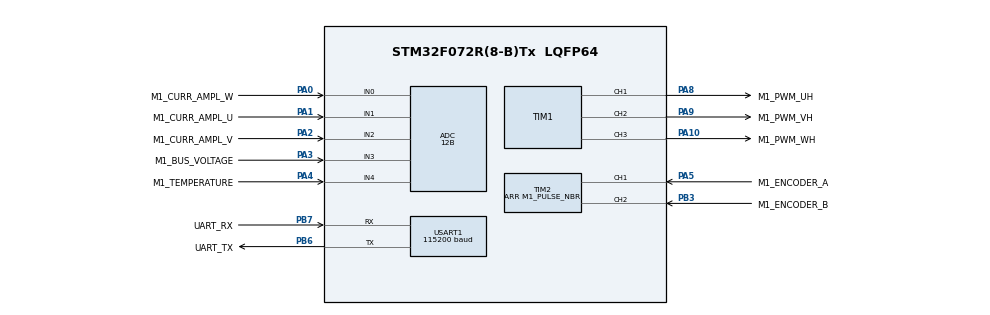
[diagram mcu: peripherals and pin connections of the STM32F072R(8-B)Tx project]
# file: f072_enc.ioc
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ADC.ClockPrescaler=ADC_CLOCK_ASYNC_DIV1
ADC.ContinuousConvMode=DISABLE
ADC.DMAContinuousRequests=ENABLE
ADC.DataAlign=ADC_DATAALIGN_LEFT
ADC.DiscontinuousConvMode=DISABLE
ADC.EOCSelection=ADC_EOC_SINGLE_CONV
ADC.EnableAnalogWatchDog=false
ADC.ExternalTrigConv=ADC_EXTERNALTRIGCONV_T1_TRGO
ADC.ExternalTrigConvEdge=ADC_EXTERNALTRIGCONVEDGE_RISING
ADC.LowPowerAutoPowerOff=DISABLE
ADC.LowPowerAutoWait=DISABLE
ADC.Overrun=ADC_OVR_DATA_PRESERVED
ADC.Resolution=ADC_RESOLUTION_12B
ADC.SamplingTime=ADC_SAMPLETIME_1CYCLE_5
ADC.ScanConvMode=ADC_SCAN_DIRECTION_FORWARD
Dma.ADC.0.Direction=DMA_PERIPH_TO_MEMORY
Dma.ADC.0.Instance=DMA1_Channel1
Dma.ADC.0.MemDataAlignment=DMA_MDATAALIGN_HALFWORD
Dma.ADC.0.MemInc=DMA_MINC_ENABLE
Dma.ADC.0.Mode=DMA_CIRCULAR
Dma.ADC.0.PeriphDataAlignment=DMA_PDATAALIGN_HALFWORD
Dma.ADC.0.PeriphInc=DMA_PINC_DISABLE
Dma.ADC.0.Priority=DMA_PRIORITY_HIGH
Dma.Request0=ADC
Dma.Request1=USART1_RX
Dma.Request2=USART1_TX
Dma.USART1_RX.1.Direction=DMA_PERIPH_TO_MEMORY
Dma.USART1_RX.1.Instance=DMA1_Channel3
Dma.USART1_RX.1.MemDataAlignment=DMA_MDATAALIGN_BYTE
Dma.USART1_RX.1.MemInc=DMA_MINC_ENABLE
Dma.USART1_RX.1.Mode=DMA_NORMAL
Dma.USART1_RX.1.PeriphDataAlignment=DMA_PDATAALIGN_BYTE
Dma.USART1_RX.1.PeriphInc=DMA_PINC_DISABLE
Dma.USART1_RX.1.Priority=DMA_PRIORITY_LOW
Dma.USART1_TX.2.Direction=DMA_MEMORY_TO_PERIPH
Dma.USART1_TX.2.Instance=DMA1_Channel2
Dma.USART1_TX.2.MemDataAlignment=DMA_MDATAALIGN_BYTE
Dma.USART1_TX.2.MemInc=DMA_MINC_ENABLE
Dma.USART1_TX.2.Mode=DMA_NORMAL
Dma.USART1_TX.2.PeriphDataAlignment=DMA_PDATAALIGN_BYTE
Dma.USART1_TX.2.PeriphInc=DMA_PINC_DISABLE
Dma.USART1_TX.2.Priority=DMA_PRIORITY_LOW
ExtraMW=MotorControl
ExtraMW.MotorControl.Config=MotorControl
ExtraMW.MotorControl.Mode=MotorControl
ExtraMW.MotorControl.Root=MCSDK_v5.Y.2/MotorControl
ExtraMW.MotorControl.Template=templates
Mcu.Family=STM32F0
Mcu.Name=STM32F072R(8-B)Tx
Mcu.Package=LQFP64
MotorControl.ADC_1_PERIPH=ADC1
MotorControl.ADC_2_PERIPH=ADC2
MotorControl.ADC_AHBPERIPH=RCC_AHBPeriph_ADC12
MotorControl.ADC_CLOCK_WB_DIV=1
MotorControl.ADC_CLOCK_WB_FREQ=14
MotorControl.ADC_PERIPH=ADC1
MotorControl.ADC_REFERENCE_VOLTAGE=3.30
MotorControl.ALIGNMENT_ANGLE_DEG=90
MotorControl.ALIGNMENT_DURATION=2000
MotorControl.AMPLIFICATION_GAIN=18.31
MotorControl.ANGC={0,0,0,0,0,0,0,0}
MotorControl.BEMF_CONSISTENCY_GAIN=64
MotorControl.BEMF_CONSISTENCY_TOL=64
MotorControl.BKIN1_FILTER=0
MotorControl.BKIN2_FILTER=0
MotorControl.BKIN2_MODE=NONE
MotorControl.BKIN_MODE=NONE
MotorControl.BOARD=CUSTOM
MotorControl.BRKIN2_GPIO_AF=GPIO_AF_2
MotorControl.BRKIN_GPIO_AF=GPIO_AF_2
MotorControl.BUS_VOLTAGE_READING=true
MotorControl.CCMRAM_ENABLED=false
MotorControl.CLOCK_FREQUENCY=CPU_CLK_48_MHZ
MotorControl.CLOCK_SOURCE=EXTERNAL
MotorControl.CONSTANT1_D=96915
MotorControl.CONSTANT1_Q=96915
MotorControl.CONSTANT2_QD=49133
MotorControl.CORD_BEMF_CONSISTENCY_GAIN=64
MotorControl.CORD_BEMF_CONSISTENCY_TOL=64
MotorControl.CORD_F1=16384
MotorControl.CORD_F2=16384
MotorControl.CORD_FIFO_DEPTH_01HZ=64
MotorControl.CORD_FIFO_DEPTH_DPP=64
MotorControl.CORD_GAIN1=-23295
MotorControl.CORD_GAIN2=18856
MotorControl.CORD_MAX_ACCEL_DPPP=107
MotorControl.CORD_MEAS_ERRORS_BEFORE_FAULTS=3
MotorControl.CORD_VARIANCE_THRESHOLD=4
MotorControl.CPU_CLK_48_MHZ=true
MotorControl.CTRBDID=0
MotorControl.CUBE_MX_VER=6.1.0
MotorControl.CURRENT_READING_TOPOLOGY=THREE_SHUNT
MotorControl.CURR_SAMPLING_TIME=1
MotorControl.DAC_EMULATED=false
MotorControl.DAC_FUNCTIONALITY=false
MotorControl.DAC_TIMER_CH1_GPIO_PIN=LL_GPIO_PIN_0
MotorControl.DAC_TIMER_CH1_GPIO_PORT=GPIOA
MotorControl.DAC_TIMER_CH2_GPIO_PIN=LL_GPIO_PIN_0
MotorControl.DAC_TIMER_CH2_GPIO_PORT=GPIOA
MotorControl.DAC_TIMER_SELECTION=TIM3
MotorControl.DC_CURRENT_RS_MEAS=8.00
MotorControl.DEBUG_DAC_CH1=false
MotorControl.DEBUG_DAC_CH2=false
MotorControl.DEFAULT_CONTROL_MODE=STC_SPEED_MODE
MotorControl.DEFAULT_DAC_CHANNEL_1=MC_PROTOCOL_REG_I_A
MotorControl.DEFAULT_DAC_CHANNEL_2=MC_PROTOCOL_REG_I_B
MotorControl.DEFAULT_DAC_MOTOR=0
MotorControl.DEFAULT_FLUX_COMPONENT=0
MotorControl.DEFAULT_TARGET_SPEED_RPM=1000
MotorControl.DEFAULT_TORQUE_COMPONENT=0
MotorControl.DISCONTINUOUS_PWM=false
MotorControl.DISSIPATIVE_BRAKE_POLARITY=DOUT_ACTIVE_HIGH
MotorControl.DRIVES_NUMBER_SELECTION=SINGLEDRIVE
MotorControl.EMERGENCY2_STOP_GPIO_PIN=LL_GPIO_PIN_12
MotorControl.EMERGENCY2_STOP_GPIO_PORT=GPIOB
MotorControl.EMERGENCY_STOP_GPIO_PIN=LL_GPIO_PIN_12
MotorControl.EMERGENCY_STOP_GPIO_PORT=GPIOB
MotorControl.ENABLE_SL_ALGO_FROM_PHASE=3
MotorControl.ENCODER=true
MotorControl.ENCODER_AVAILABLE=true
MotorControl.ENCODER_PPR=1000
MotorControl.ENC_AVERAGING_FIFO_DEPTH=16
MotorControl.ENC_A_GPIO_PIN=LL_GPIO_PIN_5
MotorControl.ENC_A_GPIO_PORT=GPIOA
MotorControl.ENC_B_GPIO_PIN=LL_GPIO_PIN_3
MotorControl.ENC_B_GPIO_PORT=GPIOB
MotorControl.ENC_ICx_FILTER=24
MotorControl.ENC_INVERT_SPEED=false
MotorControl.ENC_MEAS_ERRORS_BEFORE_FAULTS=3
MotorControl.ENC_TIMER_REMAPPING=NO_REMAP_TIM2
MotorControl.ENC_TIMER_SELECTION=ENC_TIM2
MotorControl.ENC_USE_CH3=false
MotorControl.EXT_CLK_8_MHZ=true
MotorControl.EXT_CLOCK_FREQUENCY=EXT_CLK_8_MHZ
MotorControl.F1=16384
MotorControl.F2=16384
MotorControl.FEEDBACK_NET_FILTERING=false
MotorControl.FEED_FORWARD_CURRENT_REG_ENABLING=false
MotorControl.FINAL_I_ALIGNMENT=3636
MotorControl.FLUX_WEAKENING_ENABLING=false
MotorControl.FW_KIDIV=32768
MotorControl.FW_KI_GAIN=5000
MotorControl.FW_KPDIV=32768
MotorControl.FW_KP_GAIN=3000
MotorControl.FW_VOLTAGE_REF=985
MotorControl.GAIN1=-23295
MotorControl.GAIN2=18856
MotorControl.H1_GPIO_PIN=LL_GPIO_PIN_5
MotorControl.H1_GPIO_PORT=GPIOA
MotorControl.H2_GPIO_PIN=LL_GPIO_PIN_3
MotorControl.H2_GPIO_PORT=GPIOB
MotorControl.H3_GPIO_PIN=LL_GPIO_PIN_10
MotorControl.H3_GPIO_PORT=GPIOB
MotorControl.HALL_AVERAGING_FIFO_DEPTH=6
MotorControl.HALL_ICx_FILTER=64
MotorControl.HALL_MEAS_ERRORS_BEFORE_FAULTS=3
MotorControl.HALL_MTPA=false
MotorControl.HALL_PHASE_SHIFT=300
MotorControl.HALL_SENSORS_AVAILABLE=false
MotorControl.HALL_SENSORS_PLACEMENT=DEGREES_120
MotorControl.HALL_TIMER_REMAPPING=NO_REMAP_TIM2
MotorControl.HALL_TIMER_SELECTION=HALL_TIM2
MotorControl.HFI_AMPLITUDE=25
MotorControl.HFI_DC_0_COEFF=0.00146
MotorControl.HFI_DC_1_COEFF=0.002921
MotorControl.HFI_DC_2_COEFF=0.00146
MotorControl.HFI_DC_3_COEFF=1.889033
MotorControl.HFI_DC_4_COEFF=-0.894874
MotorControl.HFI_DEBUG_MODE=false
MotorControl.HFI_FREQUENCY=400
MotorControl.HFI_HIFRAMPLSCAN=25
MotorControl.HFI_HP_ID_0_COEFF=0.901513
MotorControl.HFI_HP_ID_1_COEFF=-1.803026
MotorControl.HFI_HP_ID_2_COEFF=0.901513
MotorControl.HFI_HP_ID_3_COEFF=1.793303
MotorControl.HFI_HP_ID_4_COEFF=-0.81275
MotorControl.HFI_IDH_DELAY=32400
MotorControl.HFI_LOCKFREQ=55
MotorControl.HFI_LP_ID_0_COEFF=0.015476
MotorControl.HFI_LP_ID_1_COEFF=0.030952
MotorControl.HFI_LP_ID_2_COEFF=0.015476
MotorControl.HFI_LP_ID_3_COEFF=1.61855
MotorControl.HFI_LP_ID_4_COEFF=-0.680453
MotorControl.HFI_MAXANGLEDIFF=3640
MotorControl.HFI_MINIMUM_SPEED_RPM=402
MotorControl.HFI_NOTCH_IQD_0_COEFF=0.95059
MotorControl.HFI_NOTCH_IQD_1_COEFF=-1.859635
MotorControl.HFI_NOTCH_IQD_2_COEFF=0.95059
MotorControl.HFI_NOTCH_IQD_3_COEFF=1.859635
MotorControl.HFI_NOTCH_IQD_4_COEFF=-0.901181
MotorControl.HFI_NSDETPOINTSSKIP=10
MotorControl.HFI_NSMAXDETPOINTS=20
MotorControl.HFI_NS_MIN_SAT_DIFF=0
MotorControl.HFI_PID_KIDIV=32768
MotorControl.HFI_PID_KI_DEFAULT=400
MotorControl.HFI_PID_KPDIV=16384
MotorControl.HFI_PID_KP_DEFAULT=800
MotorControl.HFI_PLL_KI_DEFAULT=0.00400
MotorControl.HFI_PLL_KP_DEFAULT=0.00060
MotorControl.HFI_RESTARTTIMESEC=0.1
MotorControl.HFI_RESTART_RPM_TH=(((HFI_STO_RPM_TH)+(STO_HFI_RPM_TH))/2)
MotorControl.HFI_REVERT_DIRECTION=true
MotorControl.HFI_SCANROTATIONSNO=3
MotorControl.HFI_SPD_BUFFER_DEPTH_01HZ=64
MotorControl.HFI_STEPANGLE=3640
MotorControl.HFI_STO_RPM_TH=OBS_MINIMUM_SPEED_RPM
MotorControl.HFI_WAITAFTERNS2=4
MotorControl.HFI_WAITBEFORESN=6
MotorControl.HFI_WAITSYNCH=20
MotorControl.HFI_WAITTRACK=20
MotorControl.HIGH_SIDE_BRAKE_STATE=false
MotorControl.HIGH_SIDE_IDLE_STATE=false
MotorControl.HW_COMPLEMENTED_LOW_SIDE=true
MotorControl.HW_DEAD_TIME_NS=700
MotorControl.HW_OV_CURRENT_PROT_BYPASS=false
MotorControl.ID_DEMAG=-14544
MotorControl.INRUSH_CURRLIMIT_AT_POWER_ON=true
MotorControl.INRUSH_CURRLIMIT_CHANGE_AFTER_MS=1000
MotorControl.INRUSH_CURRLIMIT_ENABLING=false
MotorControl.INRUSH_CURRLIMIT_GPIO_PIN=LL_GPIO_PIN_4
MotorControl.INRUSH_CURRLIMIT_GPIO_PORT=GPIOE
MotorControl.INRUSH_CURR_LIMITER_POLARITY=DOUT_ACTIVE_HIGH
MotorControl.INTERNAL_OVERCURRENTPROTECTION=false
MotorControl.INTERNAL_OVERVOLTAGEPROTECTION=false
MotorControl.IPs=NVIC,RCC,SYS,MotorControl,TIM1,ADC,TIM2,USART1,DMA
MotorControl.IQMAX=14544
MotorControl.LCD_JOYSTICK_FUNCTIONALITY=false
MotorControl.LCD_MODE=LCD_FULL
MotorControl.LDLQ_RATIO=1.000
MotorControl.LOW_SIDE_BRAKE_STATE=false
MotorControl.LOW_SIDE_IDLE_STATE=false
MotorControl.LOW_SIDE_SIGNALS_ENABLING=LS_DISABLED
MotorControl.LS=0.000320
MotorControl.MAX_APPLICATION_SPEED=3000
MotorControl.MAX_MODULATION_99_PER_CENT=true
MotorControl.MAX_MODULATION_INDEX=MAX_MODULATION_99_PER_CENT
MotorControl.MCP_ASYNC_OVER_ASPEP=false
MotorControl.MCP_ASYNC_OVER_UART_A=false
MotorControl.MCP_ASYNC_USED=false
MotorControl.MCU=STM32F072RB
MotorControl.MCU_TYPE=STM32F072x
MotorControl.MC_WORKBENCH_VERSION=5.Y.2.21279
MotorControl.MEAS_ERRORS_BEFORE_FAULTS=3
MotorControl.MIN_APPLICATION_SPEED=0
MotorControl.MOTOR_MAX_SPEED_RPM=3000
MotorControl.MOTOR_TYPE=PMSM
MotorControl.MOTOR_VOLTAGE_CONSTANT=12.0
MotorControl.MTPA_ENABLING=false
MotorControl.NB_CONSECUTIVE_TESTS=2
MotorControl.NOMINAL_BUS_VOLTAGE_V=22
MotorControl.NOMINAL_CURRENT=14544
MotorControl.OBS_MEAS_ERRORS_BEFORE_FAULTS=3
MotorControl.OBS_MINIMUM_SPEED_RPM=580
MotorControl.OCPA_INVERTINGINPUT=COMPX_InvertingInput_VREF
MotorControl.OCPA_INVERTINGINPUT_GPIO_PIN=LL_GPIO_PIN_4
MotorControl.OCPA_INVERTINGINPUT_GPIO_PORT=GPIOA
MotorControl.OCPA_INVERTINGINPUT_MODE=INT_MODE
MotorControl.OCPA_NONINVERTINGINPUT=COMP1_NonInvertingInput_PA1
MotorControl.OCPA_NONINVERTINGINPUT_GPIO_PIN=LL_GPIO_PIN_1
MotorControl.OCPA_NONINVERTINGINPUT_GPIO_PORT=GPIOA
MotorControl.OCPA_OUTPUT=COMP_Output_TIM1BKIN2
MotorControl.OCPA_OUTPUTPOL=COMP_OutputPol_NonInverted
MotorControl.OCPA_OUTPUT_GPIO_AF=GPIO_AF_2
MotorControl.OCPA_OUTPUT_GPIO_PIN=LL_GPIO_PIN_0
MotorControl.OCPA_OUTPUT_GPIO_PORT=GPIOA
MotorControl.OCPA_OUTPUT_MODE=INT_MODE
MotorControl.OCPA_SELECTION=COMP1
MotorControl.OCPB_INVERTINGINPUT=COMPX_InvertingInput_VREF
MotorControl.OCPB_INVERTINGINPUT_GPIO_PIN=LL_GPIO_PIN_4
MotorControl.OCPB_INVERTINGINPUT_GPIO_PORT=GPIOA
MotorControl.OCPB_INVERTINGINPUT_MODE=INT_MODE
MotorControl.OCPB_NONINVERTINGINPUT=COMP2_NonInvertingInput_PA7
MotorControl.OCPB_NONINVERTINGINPUT_GPIO_PIN=LL_GPIO_PIN_7
MotorControl.OCPB_NONINVERTINGINPUT_GPIO_PORT=GPIOA
MotorControl.OCPB_OUTPUT=COMP_Output_TIM1BKIN2
MotorControl.OCPB_OUTPUTPOL=COMP_OutputPol_NonInverted
MotorControl.OCPB_OUTPUT_GPIO_AF=GPIO_AF_2
MotorControl.OCPB_OUTPUT_GPIO_PIN=LL_GPIO_PIN_2
MotorControl.OCPB_OUTPUT_GPIO_PORT=GPIOA
MotorControl.OCPB_OUTPUT_MODE=INT_MODE
MotorControl.OCPB_SELECTION=COMP2
MotorControl.OCPC_INVERTINGINPUT=COMPX_InvertingInput_VREF
MotorControl.OCPC_INVERTINGINPUT_GPIO_PIN=LL_GPIO_PIN_4
MotorControl.OCPC_INVERTINGINPUT_GPIO_PORT=GPIOA
MotorControl.OCPC_INVERTINGINPUT_MODE=INT_MODE
MotorControl.OCPC_NONINVERTINGINPUT=COMP3_NonInvertingInput_PD14
MotorControl.OCPC_NONINVERTINGINPUT_GPIO_PIN=LL_GPIO_PIN_14
MotorControl.OCPC_NONINVERTINGINPUT_GPIO_PORT=GPIOD
MotorControl.OCPC_OUTPUT=COMP_Output_TIM1BKIN2
MotorControl.OCPC_OUTPUTPOL=COMP_OutputPol_NonInverted
MotorControl.OCPC_OUTPUT_GPIO_AF=GPIO_AF_2
MotorControl.OCPC_OUTPUT_GPIO_PIN=LL_GPIO_PIN_8
MotorControl.OCPC_OUTPUT_GPIO_PORT=GPIOC
MotorControl.OCPC_OUTPUT_MODE=INT_MODE
MotorControl.OCPC_SELECTION=COMP3
MotorControl.OCPREF=23830
MotorControl.OCP_COMP_THRESHOLD=0.50
MotorControl.OCP_FILTER=COMP_Mode_HighSpeed
MotorControl.OCP_INVERTINGINPUT=COMPX_InvertingInput_VREF
MotorControl.OCP_INVERTINGINPUT_GPIO_PIN=LL_GPIO_PIN_4
MotorControl.OCP_INVERTINGINPUT_GPIO_PORT=GPIOA
MotorControl.OCP_INVERTINGINPUT_MODE=INT_MODE
MotorControl.OCP_NONINVERTINGINPUT=COMP2_NonInvertingInput_PA7
MotorControl.OCP_NONINVERTINGINPUT_GPIO_PIN=LL_GPIO_PIN_7
MotorControl.OCP_NONINVERTINGINPUT_GPIO_PORT=GPIOA
MotorControl.OCP_OUTPUT=COMP_Output_TIM1BKIN2
MotorControl.OCP_OUTPUTPOL=COMP_OutputPol_NonInverted
MotorControl.OCP_OUTPUT_GPIO_AF=GPIO_AF_2
MotorControl.OCP_OUTPUT_GPIO_PIN=LL_GPIO_PIN_2
MotorControl.OCP_OUTPUT_GPIO_PORT=GPIOA
MotorControl.OCP_OUTPUT_MODE=INT_MODE
MotorControl.OCP_SELECTION=COMP2
MotorControl.OFST={0,0,0,0,0,0,0,0}
MotorControl.ON_OVER_VOLTAGE=TURN_OFF_PWM
MotorControl.OPAMP1_INVERTINGINPUT=OPAMP1_InvertingInput_PGA
MotorControl.OPAMP1_INVERTINGINPUT_GPIO_PIN=LL_GPIO_PIN_3
MotorControl.OPAMP1_INVERTINGINPUT_GPIO_PORT=GPIOA
MotorControl.OPAMP1_INVERTINGINPUT_MODE=INT_MODE
MotorControl.OPAMP1_NONINVERTINGINPUT_PHA=OPAMP1_NonInvertingInput_PA1
MotorControl.OPAMP1_NONINVERTINGINPUT_PHA_GPIO_PIN=LL_GPIO_PIN_1
MotorControl.OPAMP1_NONINVERTINGINPUT_PHA_GPIO_PORT=GPIOA
MotorControl.OPAMP1_NONINVERTINGINPUT_PHB=OPAMP1_NonInvertingInput_PA7
MotorControl.OPAMP1_NONINVERTINGINPUT_PHB_GPIO_PIN=LL_GPIO_PIN_7
MotorControl.OPAMP1_NONINVERTINGINPUT_PHB_GPIO_PORT=GPIOA
MotorControl.OPAMP1_OUT_GPIO_PIN=LL_GPIO_PIN_2
MotorControl.OPAMP1_OUT_GPIO_PORT=GPIOA
MotorControl.OPAMP1_SELECTION=OPAMP1
MotorControl.OPAMP2_INVERTINGINPUT=OPAMP2_InvertingInput_PGA
MotorControl.OPAMP2_INVERTINGINPUT_GPIO_PIN=LL_GPIO_PIN_5
MotorControl.OPAMP2_INVERTINGINPUT_GPIO_PORT=GPIOC
MotorControl.OPAMP2_INVERTINGINPUT_MODE=INT_MODE
MotorControl.OPAMP2_NONINVERTINGINPUT_PHA=OPAMP2_NonInvertingInput_PB14
MotorControl.OPAMP2_NONINVERTINGINPUT_PHA_GPIO_PIN=LL_GPIO_PIN_14
MotorControl.OPAMP2_NONINVERTINGINPUT_PHA_GPIO_PORT=GPIOB
MotorControl.OPAMP2_NONINVERTINGINPUT_PHB=OPAMP2_NonInvertingInput_PA7
MotorControl.OPAMP2_NONINVERTINGINPUT_PHB_GPIO_PIN=LL_GPIO_PIN_7
MotorControl.OPAMP2_NONINVERTINGINPUT_PHB_GPIO_PORT=GPIOA
MotorControl.OPAMP2_NONINVERTINGINPUT_PHC=OPAMP2_NonInvertingInput_PB14
MotorControl.OPAMP2_NONINVERTINGINPUT_PHC_GPIO_PIN=LL_GPIO_PIN_14
MotorControl.OPAMP2_NONINVERTINGINPUT_PHC_GPIO_PORT=GPIOB
MotorControl.OPAMP2_OUT_GPIO_PIN=LL_GPIO_PIN_6
MotorControl.OPAMP2_OUT_GPIO_PORT=GPIOA
MotorControl.OPAMP2_SELECTION=OPAMP2
MotorControl.OPAMP3_INVERTINGINPUT=OPAMP1_InvertingInput_PGA
MotorControl.OPAMP3_INVERTINGINPUT_GPIO_PIN=LL_GPIO_PIN_0
MotorControl.OPAMP3_INVERTINGINPUT_GPIO_PORT=GPIOA
MotorControl.OPAMP3_INVERTINGINPUT_MODE=INT_MODE
MotorControl.OPAMP3_SELECTION=OPAMP1
MotorControl.OPAMP_INVERTINGINPUT=OPAMP1_InvertingInput_PGA
MotorControl.OPAMP_INVERTINGINPUT_GPIO_PIN=LL_GPIO_PIN_3
MotorControl.OPAMP_INVERTINGINPUT_GPIO_PORT=GPIOA
MotorControl.OPAMP_INVERTINGINPUT_MODE=INT_MODE
MotorControl.OPAMP_NONINVERTINGINPUT=OPAMP1_NonInvertingInput_PA7
MotorControl.OPAMP_NONINVERTINGINPUT_GPIO_PIN=LL_GPIO_PIN_7
MotorControl.OPAMP_NONINVERTINGINPUT_GPIO_PORT=GPIOA
MotorControl.OPAMP_OUT_GPIO_PIN=LL_GPIO_PIN_2
MotorControl.OPAMP_OUT_GPIO_PORT=GPIOA
MotorControl.OPAMP_PGACONNECT=OPAMP_PGAConnect_No
MotorControl.OPAMP_PGAGAIN=OPAMP_OPAMP_PGAGain_2
MotorControl.OPAMP_SELECTION=OPAMP1
MotorControl.OPAMP_TYPE_GAIN=INTERNAL
MotorControl.OPEN_LOOP_FOC=false
MotorControl.OPEN_LOOP_K=44
MotorControl.OPEN_LOOP_OFF=4400
MotorControl.OPEN_LOOP_SPEED_RAMP_DURATION_MS=1000
MotorControl.OPEN_LOOP_SPEED_RPM=100
MotorControl.OPEN_LOOP_VF=false
MotorControl.OPEN_LOOP_VOLTAGE_d=6000
MotorControl.OVERCURR_FEEDBACK_POLARITY=EMSTOP_ACTIVE_LOW
MotorControl.OVERCURR_PROTECTION_HW_DISABLING=DOUT_ACTIVE_HIGH
MotorControl.OVERMODULATION=false
MotorControl.OVPREF=23830
MotorControl.OVP_FILTER=COMP_Mode_HighSpeed
MotorControl.OVP_INVERTINGINPUT=COMPX_InvertingInput_VREF
MotorControl.OVP_INVERTINGINPUT_GPIO_PIN=LL_GPIO_PIN_4
MotorControl.OVP_INVERTINGINPUT_GPIO_PORT=GPIOA
MotorControl.OVP_INVERTINGINPUT_MODE=INT_MODE
MotorControl.OVP_NONINVERTINGINPUT=COMP7_NonInvertingInput_PA0
MotorControl.OVP_NONINVERTINGINPUT_GPIO_PIN=LL_GPIO_PIN_0
MotorControl.OVP_NONINVERTINGINPUT_GPIO_PORT=GPIOA
MotorControl.OVP_OUTPUT=COMP_Output_TIM1BKIN
MotorControl.OVP_OUTPUTPOL=COMP_OutputPol_NonInverted
MotorControl.OVP_OUTPUT_GPIO_AF=GPIO_AF_2
MotorControl.OVP_OUTPUT_GPIO_PIN=LL_GPIO_PIN_2
MotorControl.OVP_OUTPUT_GPIO_PORT=GPIOC
MotorControl.OVP_OUTPUT_MODE=INT_MODE
MotorControl.OVP_SELECTION=COMP7
MotorControl.OV_CURR_BYPASS_GPIO_PIN=LL_GPIO_PIN_5
MotorControl.OV_CURR_BYPASS_GPIO_PORT=GPIOE
MotorControl.OV_TEMPERATURE_HYSTERESIS_C=10
MotorControl.OV_TEMPERATURE_PROT_ENABLING=true
MotorControl.OV_TEMPERATURE_THRESHOLD_C=110
MotorControl.OV_VOLTAGE_PROT_ENABLING=false
MotorControl.OV_VOLTAGE_THRESHOLD_V=32
MotorControl.PHASE1_DURATION=0
MotorControl.PHASE1_FINAL_CURRENT=0
MotorControl.PHASE1_FINAL_SPEED_RPM=0
MotorControl.PHASE2_DURATION=700
MotorControl.PHASE2_FINAL_CURRENT=3636
MotorControl.PHASE2_FINAL_SPEED_RPM=0
MotorControl.PHASE3_DURATION=350
MotorControl.PHASE3_FINAL_CURRENT=3636
MotorControl.PHASE3_FINAL_SPEED_RPM=350
MotorControl.PHASE4_DURATION=1150
MotorControl.PHASE4_FINAL_CURRENT=3636
MotorControl.PHASE4_FINAL_SPEED_RPM=1500
MotorControl.PHASE5_DURATION=0
MotorControl.PHASE5_FINAL_CURRENT=3636
MotorControl.PHASE5_FINAL_SPEED_RPM=1500
MotorControl.PHASE_CURRENTS_ADC=ADC1_2
MotorControl.PHASE_CURRENTS_CHANNEL=ADC_CHANNEL_9
MotorControl.PHASE_CURRENTS_GPIO_PIN=LL_GPIO_PIN_0
MotorControl.PHASE_CURRENTS_GPIO_PORT=GPIOA
MotorControl.PHASE_UH_GPIO_AF=GPIO_AF_2
MotorControl.PHASE_UH_GPIO_PIN=LL_GPIO_PIN_8
MotorControl.PHASE_UH_GPIO_PORT=GPIOA
MotorControl.PHASE_UH_POLARITY=H_ACTIVE_HIGH
MotorControl.PHASE_UL_GPIO_AF=GPIO_AF_0
MotorControl.PHASE_UL_GPIO_PIN=LL_GPIO_PIN_13
MotorControl.PHASE_UL_GPIO_PORT=GPIOC
MotorControl.PHASE_UL_POLARITY=L_ACTIVE_HIGH
MotorControl.PHASE_U_CURR_ADC=ADC1
MotorControl.PHASE_U_CURR_CHANNEL=ADC_CHANNEL_1
MotorControl.PHASE_U_GPIO_PIN=LL_GPIO_PIN_1
MotorControl.PHASE_U_GPIO_PORT=GPIOA
MotorControl.PHASE_VH_GPIO_AF=GPIO_AF_2
MotorControl.PHASE_VH_GPIO_PIN=LL_GPIO_PIN_9
MotorControl.PHASE_VH_GPIO_PORT=GPIOA
MotorControl.PHASE_VH_POLARITY=H_ACTIVE_HIGH
MotorControl.PHASE_VL_GPIO_AF=GPIO_AF_0
MotorControl.PHASE_VL_GPIO_PIN=LL_GPIO_PIN_13
MotorControl.PHASE_VL_GPIO_PORT=GPIOC
MotorControl.PHASE_VL_POLARITY=L_ACTIVE_HIGH
MotorControl.PHASE_V_CURR_ADC=ADC1
MotorControl.PHASE_V_CURR_CHANNEL=ADC_CHANNEL_2
MotorControl.PHASE_V_GPIO_PIN=LL_GPIO_PIN_2
MotorControl.PHASE_V_GPIO_PORT=GPIOA
MotorControl.PHASE_WH_GPIO_AF=GPIO_AF_2
MotorControl.PHASE_WH_GPIO_PIN=LL_GPIO_PIN_10
MotorControl.PHASE_WH_GPIO_PORT=GPIOA
MotorControl.PHASE_WH_POLARITY=H_ACTIVE_HIGH
MotorControl.PHASE_WL_GPIO_AF=GPIO_AF_0
MotorControl.PHASE_WL_GPIO_PIN=LL_GPIO_PIN_13
MotorControl.PHASE_WL_GPIO_PORT=GPIOC
MotorControl.PHASE_WL_POLARITY=L_ACTIVE_HIGH
MotorControl.PHASE_W_CURR_ADC=ADC1
MotorControl.PHASE_W_CURR_CHANNEL=ADC_CHANNEL_0
MotorControl.PHASE_W_GPIO_PIN=LL_GPIO_PIN_0
MotorControl.PHASE_W_GPIO_PORT=GPIOA
MotorControl.PID_FLUX_KD_DEFAULT=100
MotorControl.PID_FLUX_KI_DEFAULT=1790
MotorControl.PID_FLUX_KP_DEFAULT=2148
MotorControl.PID_SPEED_KD_DEFAULT=0
MotorControl.PID_SPEED_KI_DEFAULT=35
MotorControl.PID_SPEED_KP_DEFAULT=1500
MotorControl.PID_TORQUE_KD_DEFAULT=100
MotorControl.PID_TORQUE_KI_DEFAULT=1790
MotorControl.PID_TORQUE_KP_DEFAULT=2148
MotorControl.PLL_KI_GAIN=31
MotorControl.PLL_KP_GAIN=532
MotorControl.POLE_PAIR_NUM=4
MotorControl.POSITION_CTRL_ENABLING=false
MotorControl.PWBDID=0
MotorControl.PWM_FREQUENCY=12000
MotorControl.PWM_TIMER_REMAPPING=PWM_NO_REMAP
MotorControl.PWM_TIMER_SELECTION=PWM_TIM1
MotorControl.REGCONVADC=ADC1
MotorControl.REGULATION_EXECUTION_RATE=1
MotorControl.RS=0.40
MotorControl.RSHUNT=0.00500
MotorControl.RTOS=NONE
MotorControl.R_BRAKE_GPIO_PIN=LL_GPIO_PIN_5
MotorControl.R_BRAKE_GPIO_PORT=GPIOE
MotorControl.R_BRAKE_SWITCH_OFF_THRES_V=26
MotorControl.SEGDIV=0
MotorControl.SERIAL_COMMUNICATION=true
MotorControl.SERIAL_COM_CHANNEL1=MC_PROTOCOL_REG_I_A
MotorControl.SERIAL_COM_CHANNEL2=MC_PROTOCOL_REG_I_A
MotorControl.SERIAL_COM_MODE=COM_BIDIRECTIONAL
MotorControl.SERIAL_COM_MOTOR=0
MotorControl.SHARED_SIGNAL_ENABLE=false
MotorControl.SINGLEDRIVE=true
MotorControl.SPD_DIFFERENTIAL_TERM_ENABLING=false
MotorControl.SPEED_BAND_LOWER_LIMIT=15
MotorControl.SPEED_BAND_UPPER_LIMIT=17
MotorControl.SPEED_LOOP_FREQUENCY_HZ=1000
MotorControl.SPEED_SENSOR_SELECTION=ENCODER
MotorControl.SP_KDDIV=16
MotorControl.SP_KIDIV=256
MotorControl.SP_KPDIV=16
MotorControl.STARTING_ANGLE_DEG=90
MotorControl.START_STOP_BTN=false
MotorControl.START_STOP_GPIO_PIN=LL_GPIO_PIN_6
MotorControl.START_STOP_GPIO_PORT=GPIOE
MotorControl.START_STOP_POLARITY=DIN_ACTIVE_LOW
MotorControl.START_STOP_POLARITY_EDGE=GPIO_NOPULL
MotorControl.STM32F072x=true
MotorControl.STO_FIFO_DEPTH_01HZ=64
MotorControl.STO_FIFO_DEPTH_DPP=64
MotorControl.STO_HFI_RPM_TH=460
MotorControl.SW_DEADTIME_NS=800
MotorControl.SW_OV_CURRENT_PROT_ENABLING=false
MotorControl.T0_C=25
MotorControl.TEMPERATURE_READING=true
MotorControl.TEMP_ADC_SAMPLING_TIME=1
MotorControl.TEMP_FDBK_ADC=ADC1
MotorControl.TEMP_FDBK_CHANNEL=ADC_CHANNEL_4
MotorControl.TEMP_FDBK_GPIO_PIN=LL_GPIO_PIN_4
MotorControl.TEMP_FDBK_GPIO_PORT=GPIOA
MotorControl.TFDIFFERENTIAL_TERM_ENABLING=false
MotorControl.TF_KDDIV=8192
MotorControl.TF_KIDIV=16384
MotorControl.TF_KPDIV=2048
MotorControl.THREE_SHUNT=true
MotorControl.TNOISE_NS=2000
MotorControl.TRANSITION_DURATION=25
MotorControl.TRISE_NS=3000
MotorControl.T_MAX=110
MotorControl.UD_VOLTAGE_THRESHOLD_V=18
MotorControl.USART_REMAPPING=NO_REMAP_USART1
MotorControl.USART_RX_GPIO_PIN=LL_GPIO_PIN_7
MotorControl.USART_RX_GPIO_PORT=GPIOB
MotorControl.USART_SELECTION=USE_USART1
MotorControl.USART_SPEED=115200
MotorControl.USART_TX_GPIO_PIN=LL_GPIO_PIN_6
MotorControl.USART_TX_GPIO_PORT=GPIOB
MotorControl.USE_3OPAMPS=false
MotorControl.USE_INTERNAL_OPAMP=false
MotorControl.UV_VOLTAGE_PROT_ENABLING=false
MotorControl.V0_V=1.050
MotorControl.VARIANCE_THRESHOLD=0.1
MotorControl.VBUS_ADC=ADC1
MotorControl.VBUS_ADC_SAMPLING_TIME=1
MotorControl.VBUS_CHANNEL=ADC_CHANNEL_3
MotorControl.VBUS_GPIO_PIN=LL_GPIO_PIN_3
MotorControl.VBUS_GPIO_PORT=GPIOA
MotorControl.VBUS_PARTITIONING_FACTOR=0.0449
MotorControl.WB_to_Mx_template_version=21-06-29
MotorControl.WB_to_Mx_version=1.5.0
MotorControl.dV_dT=0.022
NVIC.DMA1_Channel1_IRQn=true\:1\:0\:true\:true\:false\:5\:true\:true
NVIC.DMA1_Channel2_3_IRQn=true\:0\:0\:true\:true\:false\:6\:true\:true
NVIC.TIM1_BRK_UP_TRG_COM_IRQn=true\:0\:0\:false\:true\:false\:1\:true\:true
NVIC.TIM2_IRQn=true\:3\:0\:false\:true\:false\:3\:true\:true
NVIC.USART1_IRQn=true\:3\:0\:true\:true\:false\:4\:true\:true
PA0.GPIO_Label=M1_CURR_AMPL_W
PA0.Mode=IN0
PA0.Signal=ADC_IN0
PA1.GPIO_Label=M1_CURR_AMPL_U
PA1.Mode=IN1
PA1.Signal=ADC_IN1
PA10.GPIO_Label=M1_PWM_WH
PA10.GPIO_PuPd=GPIO_PULLDOWN
PA10.GPIO_Speed=GPIO_SPEED_FREQ_HIGH
PA10.Signal=S_TIM1_CH3
PA2.GPIO_Label=M1_CURR_AMPL_V
PA2.Mode=IN2
PA2.Signal=ADC_IN2
PA3.GPIO_Label=M1_BUS_VOLTAGE
PA3.Mode=IN3
PA3.Signal=ADC_IN3
PA4.GPIO_Label=M1_TEMPERATURE
PA4.Mode=IN4
PA4.Signal=ADC_IN4
PA5.GPIO_Label=M1_ENCODER_A
PA5.Signal=S_TIM2_CH1_ETR
PA8.GPIO_Label=M1_PWM_UH
PA8.GPIO_PuPd=GPIO_PULLDOWN
PA8.GPIO_Speed=GPIO_SPEED_FREQ_HIGH
PA8.Signal=S_TIM1_CH1
PA9.GPIO_Label=M1_PWM_VH
PA9.GPIO_PuPd=GPIO_PULLDOWN
PA9.GPIO_Speed=GPIO_SPEED_FREQ_HIGH
PA9.Signal=S_TIM1_CH2
PB3.GPIO_Label=M1_ENCODER_B
PB3.Signal=S_TIM2_CH2
PB6.GPIO_Label=UART_TX
PB6.GPIO_Mode=GPIO_MODE_AF_PP
PB6.GPIO_PuPd=GPIO_NOPULL
PB6.GPIO_Speed=GPIO_SPEED_FREQ_LOW
PB6.Mode=Asynchronous
PB6.Signal=USART1_TX
PB7.GPIO_Label=UART_RX
PB7.GPIO_Mode=GPIO_MODE_AF_PP
PB7.GPIO_PuPd=GPIO_NOPULL
PB7.GPIO_Speed=GPIO_SPEED_FREQ_LOW
PB7.Mode=Asynchronous
PB7.Signal=USART1_RX
PF0-OSC_IN.Mode=HSE-External-Oscillator
PF0-OSC_IN.Signal=RCC_OSC_IN
PF1-OSC_OUT.Mode=HSE-External-Oscillator
PF1-OSC_OUT.Signal=RCC_OSC_OUT
ProjectManager.HeapSize=0x80
ProjectManager.StackSize=0x400
ProjectManager.TargetToolchain=MDK-ARM V5
RCC.AHBFreq_Value=48000000
RCC.APB1Freq_Value=48000000
RCC.APB1TimFreq_Value=48000000
RCC.EnbaleCSS=true
RCC.HCLKFreq_Value=48000000
RCC.PLLMUL=RCC_PLL_MUL6
RCC.PLLSourceVirtual=RCC_PLLSOURCE_HSE
RCC.SYSCLKFreq_VALUE=48000000
RCC.SYSCLKSource=RCC_SYSCLKSOURCE_PLLCLK
SH.S_TIM1_CH1.0=TIM1_CH1,PWM Generation1 CH1
SH.S_TIM1_CH2.0=TIM1_CH2,PWM Generation2 CH2
SH.S_TIM1_CH3.0=TIM1_CH3,PWM Generation3 CH3
SH.S_TIM2_CH1_ETR.0=TIM2_CH1,Encoder_Interface
SH.S_TIM2_CH2.0=TIM2_CH2,Encoder_Interface
TIM1.AutoReloadPreload=TIM_AUTORELOAD_PRELOAD_DISABLE
TIM1.AutomaticOutput=TIM_AUTOMATICOUTPUT_DISABLE
TIM1.BreakPolarity=TIM_BREAKPOLARITY_LOW
TIM1.BreakState=TIM_BREAK_DISABLE
TIM1.Channel-PWM\ Generation1\ CH1=TIM_CHANNEL_1
TIM1.Channel-PWM\ Generation2\ CH2=TIM_CHANNEL_2
TIM1.Channel-PWM\ Generation3\ CH3=TIM_CHANNEL_3
TIM1.Channel-PWM\ Generation4\ No\ Output=TIM_CHANNEL_4
TIM1.ClearInputSource=TIM_CLEARINPUTSOURCE_NONE
TIM1.ClockDivision=TIM_CLOCKDIVISION_DIV2
TIM1.CounterMode=TIM_COUNTERMODE_CENTERALIGNED1
TIM1.LockLevel=TIM_LOCKLEVEL_1
TIM1.OCIdleState_1=TIM_OCIDLESTATE_RESET
TIM1.OCIdleState_2=TIM_OCIDLESTATE_RESET
TIM1.OCIdleState_3=TIM_OCIDLESTATE_RESET
TIM1.OCIdleState_4=TIM_OCIDLESTATE_RESET
TIM1.OCMode_PWM-PWM\ Generation1\ CH1=TIM_OCMODE_PWM1
TIM1.OCMode_PWM-PWM\ Generation2\ CH2=TIM_OCMODE_PWM1
TIM1.OCMode_PWM-PWM\ Generation3\ CH3=TIM_OCMODE_PWM1
TIM1.OCMode_PWM-PWM\ Generation4\ No\ Output=TIM_OCMODE_PWM2
TIM1.OCPolarity_1=TIM_OCPOLARITY_HIGH
TIM1.OCPolarity_2=TIM_OCPOLARITY_HIGH
TIM1.OCPolarity_3=TIM_OCPOLARITY_HIGH
TIM1.OCPolarity_4=TIM_OCPOLARITY_HIGH
TIM1.OffStateIDLEMode=TIM_OSSI_ENABLE
TIM1.OffStateRunMode=TIM_OSSR_ENABLE
TIM1.Period=((PWM_PERIOD_CYCLES) / 2)
TIM1.Prescaler=((TIM_CLOCK_DIVIDER) - 1)
TIM1.Pulse-PWM\ Generation1\ CH1=((PWM_PERIOD_CYCLES) / 4)
TIM1.Pulse-PWM\ Generation2\ CH2=((PWM_PERIOD_CYCLES) / 4)
TIM1.Pulse-PWM\ Generation3\ CH3=((PWM_PERIOD_CYCLES) / 4)
TIM1.Pulse-PWM\ Generation4\ No\ Output=(((PWM_PERIOD_CYCLES) / 2) - (HTMIN))
TIM1.RepetitionCounter=(REP_COUNTER)
TIM1.TIM_MasterOutputTrigger=TIM_TRGO_OC4REF
TIM1.TIM_MasterSlaveMode=TIM_MASTERSLAVEMODE_DISABLE
TIM2.EncoderMode=TIM_ENCODERMODE_TI12
TIM2.IC1Filter=M1_ENC_IC_FILTER
TIM2.IC1Polarity=TIM_ICPOLARITY_RISING
TIM2.IC2Filter=M1_ENC_IC_FILTER
TIM2.IC2Polarity=TIM_ICPOLARITY_RISING
TIM2.Period=M1_PULSE_NBR
USART1.BaudRate=115200
USART1.VirtualMode-Asynchronous=VM_ASYNC
USART1.WordLength=WORDLENGTH_8B
VP_MotorControl_MC_ENABLED.Mode=Enabled
VP_TIM1_VS_no_output4.Mode=PWM Generation4 No Output
board=custom

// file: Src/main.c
/* USER CODE BEGIN Header */
/**
  ******************************************************************************
  * @file           : main.c
  * @brief          : Main program body
  ******************************************************************************
  * @attention
  *
  * <h2><center>&copy; Copyright (c) 2021 STMicroelectronics.
  * All rights reserved.</center></h2>
  *
  * This software component is licensed by ST under Ultimate Liberty license
  * SLA0044, the "License"; You may not use this file except in compliance with
  * the License. You may obtain a copy of the License at:
  *                             www.st.com/SLA0044
  *
  ******************************************************************************
  */
/* USER CODE END Header */
#include "main.h"
#include "motorcontrol.h"

/* USER CODE BEGIN Includes */
#include "hmi_task.h"

/* USER CODE END Includes */

/* USER CODE BEGIN PV */
extern HMI_Handle_t hmi_handle;
extern uint8_t ec11_btn_flag;
extern uint8_t ec11_btn_long_press;
extern uint8_t ec11_btn_press;
/* USER CODE END PV */

void SystemClock_Config(void);
static void MX_GPIO_Init(void);
static void MX_DMA_Init(void);
static void MX_ADC_Init(void);
static void MX_TIM1_Init(void);
static void MX_TIM2_Init(void);
static void MX_USART1_UART_Init(void);
static void MX_NVIC_Init(void);
/* USER CODE BEGIN PFP */
static void Board_Init(void);

/* USER CODE END PFP */

int main(void)
{

  /* MCU Configuration--------------------------------------------------------*/

  /* Reset of all peripherals, Initializes the Flash interface and the Systick. */
  HAL_Init();

  /* Configure the system clock */
  SystemClock_Config();

  /* Initialize all configured peripherals */
  MX_GPIO_Init();
  MX_DMA_Init();
  MX_ADC_Init();
  MX_TIM1_Init();
  MX_TIM2_Init();
  MX_USART1_UART_Init();
  MX_MotorControl_Init();

  /* Initialize interrupts */
  MX_NVIC_Init();
  /* USER CODE BEGIN 2 */
	Board_Init();
	HMI_Init(&hmi_handle);
  /* USER CODE END 2 */

  /* Infinite loop */
  while (1)
  {

    /* USER CODE BEGIN 3 */

/*process button event*/
		HMI_Scheduler();
		HAL_Delay(5);
  }
  /* USER CODE END 3 */
}

void SystemClock_Config(void)
{
  LL_FLASH_SetLatency(LL_FLASH_LATENCY_1);
  while(LL_FLASH_GetLatency() != LL_FLASH_LATENCY_1)
  {
  }
  LL_RCC_HSE_Enable();

   /* Wait till HSE is ready */
  while(LL_RCC_HSE_IsReady() != 1)
  {

  }
  LL_RCC_HSI14_Enable();

   /* Wait till HSI14 is ready */
  while(LL_RCC_HSI14_IsReady() != 1)
  {

  }
  LL_RCC_HSI14_SetCalibTrimming(16);
  LL_RCC_HSE_EnableCSS();
  LL_RCC_PLL_ConfigDomain_SYS(LL_RCC_PLLSOURCE_HSE, LL_RCC_PLL_MUL_6, LL_RCC_PREDIV_DIV_1);
  LL_RCC_PLL_Enable();

   /* Wait till PLL is ready */
  while(LL_RCC_PLL_IsReady() != 1)
  {

  }
  LL_RCC_SetAHBPrescaler(LL_RCC_SYSCLK_DIV_1);
  LL_RCC_SetAPB1Prescaler(LL_RCC_APB1_DIV_1);
  LL_RCC_SetSysClkSource(LL_RCC_SYS_CLKSOURCE_PLL);

   /* Wait till System clock is ready */
  while(LL_RCC_GetSysClkSource() != LL_RCC_SYS_CLKSOURCE_STATUS_PLL)
  {

  }
  LL_SetSystemCoreClock(48000000);

   /* Update the time base */
  if (HAL_InitTick (TICK_INT_PRIORITY) != HAL_OK)
  {
    Error_Handler();
  }
  LL_RCC_HSI14_EnableADCControl();
  LL_RCC_SetUSARTClockSource(LL_RCC_USART1_CLKSOURCE_PCLK1);
}

/**
  * @brief NVIC Configuration.
  * @retval None
  */
static void MX_NVIC_Init(void)
{
  /* TIM1_BRK_UP_TRG_COM_IRQn interrupt configuration */
  NVIC_SetPriority(TIM1_BRK_UP_TRG_COM_IRQn, 0);
  NVIC_EnableIRQ(TIM1_BRK_UP_TRG_COM_IRQn);
  /* TIM2_IRQn interrupt configuration */
  NVIC_SetPriority(TIM2_IRQn, 3);
  NVIC_EnableIRQ(TIM2_IRQn);
  /* USART1_IRQn interrupt configuration */
  NVIC_SetPriority(USART1_IRQn, 3);
  NVIC_EnableIRQ(USART1_IRQn);
  /* DMA1_Channel1_IRQn interrupt configuration */
  NVIC_SetPriority(DMA1_Channel1_IRQn, 1);
  NVIC_EnableIRQ(DMA1_Channel1_IRQn);
  /* DMA1_Channel2_3_IRQn interrupt configuration */
  NVIC_SetPriority(DMA1_Channel2_3_IRQn, 0);
  NVIC_EnableIRQ(DMA1_Channel2_3_IRQn);
}

static void MX_ADC_Init(void)
{

  LL_ADC_InitTypeDef ADC_InitStruct = {0};
  LL_ADC_REG_InitTypeDef ADC_REG_InitStruct = {0};

  LL_GPIO_InitTypeDef GPIO_InitStruct = {0};

  /* Peripheral clock enable */
  LL_APB1_GRP2_EnableClock(LL_APB1_GRP2_PERIPH_ADC1);

  LL_AHB1_GRP1_EnableClock(LL_AHB1_GRP1_PERIPH_GPIOA);
  /**ADC GPIO Configuration
  PA0   ------> ADC_IN0
  PA1   ------> ADC_IN1
  PA2   ------> ADC_IN2
  PA3   ------> ADC_IN3
  PA4   ------> ADC_IN4
  */
  GPIO_InitStruct.Pin = M1_CURR_AMPL_W_Pin;
  GPIO_InitStruct.Mode = LL_GPIO_MODE_ANALOG;
  GPIO_InitStruct.Pull = LL_GPIO_PULL_NO;
  LL_GPIO_Init(M1_CURR_AMPL_W_GPIO_Port, &GPIO_InitStruct);

  GPIO_InitStruct.Pin = M1_CURR_AMPL_U_Pin;
  GPIO_InitStruct.Mode = LL_GPIO_MODE_ANALOG;
  GPIO_InitStruct.Pull = LL_GPIO_PULL_NO;
  LL_GPIO_Init(M1_CURR_AMPL_U_GPIO_Port, &GPIO_InitStruct);

  GPIO_InitStruct.Pin = M1_CURR_AMPL_V_Pin;
  GPIO_InitStruct.Mode = LL_GPIO_MODE_ANALOG;
  GPIO_InitStruct.Pull = LL_GPIO_PULL_NO;
  LL_GPIO_Init(M1_CURR_AMPL_V_GPIO_Port, &GPIO_InitStruct);

  GPIO_InitStruct.Pin = M1_BUS_VOLTAGE_Pin;
  GPIO_InitStruct.Mode = LL_GPIO_MODE_ANALOG;
  GPIO_InitStruct.Pull = LL_GPIO_PULL_NO;
  LL_GPIO_Init(M1_BUS_VOLTAGE_GPIO_Port, &GPIO_InitStruct);

  GPIO_InitStruct.Pin = M1_TEMPERATURE_Pin;
  GPIO_InitStruct.Mode = LL_GPIO_MODE_ANALOG;
  GPIO_InitStruct.Pull = LL_GPIO_PULL_NO;
  LL_GPIO_Init(M1_TEMPERATURE_GPIO_Port, &GPIO_InitStruct);

  /* ADC DMA Init */

  /* ADC Init */
  LL_DMA_SetDataTransferDirection(DMA1, LL_DMA_CHANNEL_1, LL_DMA_DIRECTION_PERIPH_TO_MEMORY);

  LL_DMA_SetChannelPriorityLevel(DMA1, LL_DMA_CHANNEL_1, LL_DMA_PRIORITY_HIGH);

  LL_DMA_SetMode(DMA1, LL_DMA_CHANNEL_1, LL_DMA_MODE_CIRCULAR);

  LL_DMA_SetPeriphIncMode(DMA1, LL_DMA_CHANNEL_1, LL_DMA_PERIPH_NOINCREMENT);

  LL_DMA_SetMemoryIncMode(DMA1, LL_DMA_CHANNEL_1, LL_DMA_MEMORY_INCREMENT);

  LL_DMA_SetPeriphSize(DMA1, LL_DMA_CHANNEL_1, LL_DMA_PDATAALIGN_HALFWORD);

  LL_DMA_SetMemorySize(DMA1, LL_DMA_CHANNEL_1, LL_DMA_MDATAALIGN_HALFWORD);

  /** Configure Regular Channel
  */
  LL_ADC_REG_SetSequencerChAdd(ADC1, LL_ADC_CHANNEL_0);
  /** Configure Regular Channel
  */
  LL_ADC_REG_SetSequencerChAdd(ADC1, LL_ADC_CHANNEL_1);
  /** Configure Regular Channel
  */
  LL_ADC_REG_SetSequencerChAdd(ADC1, LL_ADC_CHANNEL_2);
  /** Configure Regular Channel
  */
  LL_ADC_REG_SetSequencerChAdd(ADC1, LL_ADC_CHANNEL_3);
  /** Configure Regular Channel
  */
  LL_ADC_REG_SetSequencerChAdd(ADC1, LL_ADC_CHANNEL_4);
  /** Configure the global features of the ADC (Clock, Resolution, Data Alignment and number of conversion)
  */
  ADC_InitStruct.Clock = LL_ADC_CLOCK_ASYNC;
  ADC_InitStruct.Resolution = LL_ADC_RESOLUTION_12B;
  ADC_InitStruct.DataAlignment = LL_ADC_DATA_ALIGN_LEFT;
  ADC_InitStruct.LowPowerMode = LL_ADC_LP_MODE_NONE;
  LL_ADC_Init(ADC1, &ADC_InitStruct);
  ADC_REG_InitStruct.TriggerSource = LL_ADC_REG_TRIG_EXT_TIM1_TRGO;
  ADC_REG_InitStruct.SequencerDiscont = LL_ADC_REG_SEQ_DISCONT_DISABLE;
  ADC_REG_InitStruct.ContinuousMode = LL_ADC_REG_CONV_SINGLE;
  ADC_REG_InitStruct.DMATransfer = LL_ADC_REG_DMA_TRANSFER_UNLIMITED;
  ADC_REG_InitStruct.Overrun = LL_ADC_REG_OVR_DATA_PRESERVED;
  LL_ADC_REG_Init(ADC1, &ADC_REG_InitStruct);
  LL_ADC_REG_SetSequencerScanDirection(ADC1, LL_ADC_REG_SEQ_SCAN_DIR_FORWARD);
  LL_ADC_SetSamplingTimeCommonChannels(ADC1, LL_ADC_SAMPLINGTIME_1CYCLE_5);
  LL_ADC_REG_SetTriggerEdge(ADC1, LL_ADC_REG_TRIG_EXT_RISING);

}

static void MX_TIM1_Init(void)
{

  LL_TIM_InitTypeDef TIM_InitStruct = {0};
  LL_TIM_OC_InitTypeDef TIM_OC_InitStruct = {0};
  LL_TIM_BDTR_InitTypeDef TIM_BDTRInitStruct = {0};

  LL_GPIO_InitTypeDef GPIO_InitStruct = {0};

  /* Peripheral clock enable */
  LL_APB1_GRP2_EnableClock(LL_APB1_GRP2_PERIPH_TIM1);

  TIM_InitStruct.Prescaler = ((TIM_CLOCK_DIVIDER) - 1);
  TIM_InitStruct.CounterMode = LL_TIM_COUNTERMODE_CENTER_UP;
  TIM_InitStruct.Autoreload = ((PWM_PERIOD_CYCLES) / 2);
  TIM_InitStruct.ClockDivision = LL_TIM_CLOCKDIVISION_DIV2;
  TIM_InitStruct.RepetitionCounter = (REP_COUNTER);
  LL_TIM_Init(TIM1, &TIM_InitStruct);
  LL_TIM_DisableARRPreload(TIM1);
  LL_TIM_OC_EnablePreload(TIM1, LL_TIM_CHANNEL_CH1);
  TIM_OC_InitStruct.OCMode = LL_TIM_OCMODE_PWM1;
  TIM_OC_InitStruct.OCState = LL_TIM_OCSTATE_DISABLE;
  TIM_OC_InitStruct.OCNState = LL_TIM_OCSTATE_DISABLE;
  TIM_OC_InitStruct.CompareValue = ((PWM_PERIOD_CYCLES) / 4);
  TIM_OC_InitStruct.OCPolarity = LL_TIM_OCPOLARITY_HIGH;
  TIM_OC_InitStruct.OCNPolarity = LL_TIM_OCPOLARITY_HIGH;
  TIM_OC_InitStruct.OCIdleState = LL_TIM_OCIDLESTATE_LOW;
  TIM_OC_InitStruct.OCNIdleState = LL_TIM_OCIDLESTATE_LOW;
  LL_TIM_OC_Init(TIM1, LL_TIM_CHANNEL_CH1, &TIM_OC_InitStruct);
  LL_TIM_OC_DisableFast(TIM1, LL_TIM_CHANNEL_CH1);
  LL_TIM_OC_EnablePreload(TIM1, LL_TIM_CHANNEL_CH2);
  TIM_OC_InitStruct.OCState = LL_TIM_OCSTATE_DISABLE;
  TIM_OC_InitStruct.OCNState = LL_TIM_OCSTATE_DISABLE;
  LL_TIM_OC_Init(TIM1, LL_TIM_CHANNEL_CH2, &TIM_OC_InitStruct);
  LL_TIM_OC_DisableFast(TIM1, LL_TIM_CHANNEL_CH2);
  LL_TIM_OC_EnablePreload(TIM1, LL_TIM_CHANNEL_CH3);
  TIM_OC_InitStruct.OCState = LL_TIM_OCSTATE_DISABLE;
  TIM_OC_InitStruct.OCNState = LL_TIM_OCSTATE_DISABLE;
  LL_TIM_OC_Init(TIM1, LL_TIM_CHANNEL_CH3, &TIM_OC_InitStruct);
  LL_TIM_OC_DisableFast(TIM1, LL_TIM_CHANNEL_CH3);
  LL_TIM_OC_EnablePreload(TIM1, LL_TIM_CHANNEL_CH4);
  TIM_OC_InitStruct.OCMode = LL_TIM_OCMODE_PWM2;
  TIM_OC_InitStruct.OCState = LL_TIM_OCSTATE_DISABLE;
  TIM_OC_InitStruct.OCNState = LL_TIM_OCSTATE_DISABLE;
  TIM_OC_InitStruct.CompareValue = (((PWM_PERIOD_CYCLES) / 2) - (HTMIN));
  LL_TIM_OC_Init(TIM1, LL_TIM_CHANNEL_CH4, &TIM_OC_InitStruct);
  LL_TIM_OC_DisableFast(TIM1, LL_TIM_CHANNEL_CH4);
  LL_TIM_SetTriggerOutput(TIM1, LL_TIM_TRGO_OC4REF);
  LL_TIM_DisableMasterSlaveMode(TIM1);
  TIM_BDTRInitStruct.OSSRState = LL_TIM_OSSR_ENABLE;
  TIM_BDTRInitStruct.OSSIState = LL_TIM_OSSI_ENABLE;
  TIM_BDTRInitStruct.LockLevel = LL_TIM_LOCKLEVEL_1;
  TIM_BDTRInitStruct.DeadTime = 0;
  TIM_BDTRInitStruct.BreakState = LL_TIM_BREAK_DISABLE;
  TIM_BDTRInitStruct.BreakPolarity = LL_TIM_BREAK_POLARITY_LOW;
  TIM_BDTRInitStruct.AutomaticOutput = LL_TIM_AUTOMATICOUTPUT_DISABLE;
  LL_TIM_BDTR_Init(TIM1, &TIM_BDTRInitStruct);
  LL_AHB1_GRP1_EnableClock(LL_AHB1_GRP1_PERIPH_GPIOA);
  /**TIM1 GPIO Configuration
  PA8   ------> TIM1_CH1
  PA9   ------> TIM1_CH2
  PA10   ------> TIM1_CH3
  */
  GPIO_InitStruct.Pin = M1_PWM_UH_Pin;
  GPIO_InitStruct.Mode = LL_GPIO_MODE_ALTERNATE;
  GPIO_InitStruct.Speed = LL_GPIO_SPEED_FREQ_HIGH;
  GPIO_InitStruct.OutputType = LL_GPIO_OUTPUT_PUSHPULL;
  GPIO_InitStruct.Pull = LL_GPIO_PULL_DOWN;
  GPIO_InitStruct.Alternate = LL_GPIO_AF_2;
  LL_GPIO_Init(M1_PWM_UH_GPIO_Port, &GPIO_InitStruct);

  GPIO_InitStruct.Pin = M1_PWM_VH_Pin;
  GPIO_InitStruct.Mode = LL_GPIO_MODE_ALTERNATE;
  GPIO_InitStruct.Speed = LL_GPIO_SPEED_FREQ_HIGH;
  GPIO_InitStruct.OutputType = LL_GPIO_OUTPUT_PUSHPULL;
  GPIO_InitStruct.Pull = LL_GPIO_PULL_DOWN;
  GPIO_InitStruct.Alternate = LL_GPIO_AF_2;
  LL_GPIO_Init(M1_PWM_VH_GPIO_Port, &GPIO_InitStruct);

  GPIO_InitStruct.Pin = M1_PWM_WH_Pin;
  GPIO_InitStruct.Mode = LL_GPIO_MODE_ALTERNATE;
  GPIO_InitStruct.Speed = LL_GPIO_SPEED_FREQ_HIGH;
  GPIO_InitStruct.OutputType = LL_GPIO_OUTPUT_PUSHPULL;
  GPIO_InitStruct.Pull = LL_GPIO_PULL_DOWN;
  GPIO_InitStruct.Alternate = LL_GPIO_AF_2;
  LL_GPIO_Init(M1_PWM_WH_GPIO_Port, &GPIO_InitStruct);

}

static void MX_TIM2_Init(void)
{

  LL_TIM_InitTypeDef TIM_InitStruct = {0};

  LL_GPIO_InitTypeDef GPIO_InitStruct = {0};

  /* Peripheral clock enable */
  LL_APB1_GRP1_EnableClock(LL_APB1_GRP1_PERIPH_TIM2);

  LL_AHB1_GRP1_EnableClock(LL_AHB1_GRP1_PERIPH_GPIOA);
  LL_AHB1_GRP1_EnableClock(LL_AHB1_GRP1_PERIPH_GPIOB);
  /**TIM2 GPIO Configuration
  PA5   ------> TIM2_CH1
  PB3   ------> TIM2_CH2
  */
  GPIO_InitStruct.Pin = M1_ENCODER_A_Pin;
  GPIO_InitStruct.Mode = LL_GPIO_MODE_ALTERNATE;
  GPIO_InitStruct.Speed = LL_GPIO_SPEED_FREQ_LOW;
  GPIO_InitStruct.OutputType = LL_GPIO_OUTPUT_PUSHPULL;
  GPIO_InitStruct.Pull = LL_GPIO_PULL_NO;
  GPIO_InitStruct.Alternate = LL_GPIO_AF_2;
  LL_GPIO_Init(M1_ENCODER_A_GPIO_Port, &GPIO_InitStruct);

  GPIO_InitStruct.Pin = M1_ENCODER_B_Pin;
  GPIO_InitStruct.Mode = LL_GPIO_MODE_ALTERNATE;
  GPIO_InitStruct.Speed = LL_GPIO_SPEED_FREQ_LOW;
  GPIO_InitStruct.OutputType = LL_GPIO_OUTPUT_PUSHPULL;
  GPIO_InitStruct.Pull = LL_GPIO_PULL_NO;
  GPIO_InitStruct.Alternate = LL_GPIO_AF_2;
  LL_GPIO_Init(M1_ENCODER_B_GPIO_Port, &GPIO_InitStruct);

  LL_TIM_SetEncoderMode(TIM2, LL_TIM_ENCODERMODE_X4_TI12);
  LL_TIM_IC_SetActiveInput(TIM2, LL_TIM_CHANNEL_CH1, LL_TIM_ACTIVEINPUT_DIRECTTI);
  LL_TIM_IC_SetPrescaler(TIM2, LL_TIM_CHANNEL_CH1, LL_TIM_ICPSC_DIV1);
  LL_TIM_IC_SetFilter(TIM2, LL_TIM_CHANNEL_CH1, M1_ENC_IC_FILTER);
  LL_TIM_IC_SetPolarity(TIM2, LL_TIM_CHANNEL_CH1, LL_TIM_IC_POLARITY_RISING);
  LL_TIM_IC_SetActiveInput(TIM2, LL_TIM_CHANNEL_CH2, LL_TIM_ACTIVEINPUT_DIRECTTI);
  LL_TIM_IC_SetPrescaler(TIM2, LL_TIM_CHANNEL_CH2, LL_TIM_ICPSC_DIV1);
  LL_TIM_IC_SetFilter(TIM2, LL_TIM_CHANNEL_CH2, M1_ENC_IC_FILTER);
  LL_TIM_IC_SetPolarity(TIM2, LL_TIM_CHANNEL_CH2, LL_TIM_IC_POLARITY_RISING);
  TIM_InitStruct.Prescaler = 0;
  TIM_InitStruct.CounterMode = LL_TIM_COUNTERMODE_UP;
  TIM_InitStruct.Autoreload = M1_PULSE_NBR;
  TIM_InitStruct.ClockDivision = LL_TIM_CLOCKDIVISION_DIV1;
  LL_TIM_Init(TIM2, &TIM_InitStruct);
  LL_TIM_DisableARRPreload(TIM2);
  LL_TIM_SetTriggerOutput(TIM2, LL_TIM_TRGO_RESET);
  LL_TIM_DisableMasterSlaveMode(TIM2);

}

static void MX_USART1_UART_Init(void)
{

  LL_USART_InitTypeDef USART_InitStruct = {0};

  LL_GPIO_InitTypeDef GPIO_InitStruct = {0};

  /* Peripheral clock enable */
  LL_APB1_GRP2_EnableClock(LL_APB1_GRP2_PERIPH_USART1);

  LL_AHB1_GRP1_EnableClock(LL_AHB1_GRP1_PERIPH_GPIOB);
  /**USART1 GPIO Configuration
  PB6   ------> USART1_TX
  PB7   ------> USART1_RX
  */
  GPIO_InitStruct.Pin = UART_TX_Pin;
  GPIO_InitStruct.Mode = LL_GPIO_MODE_ALTERNATE;
  GPIO_InitStruct.Speed = LL_GPIO_SPEED_FREQ_LOW;
  GPIO_InitStruct.OutputType = LL_GPIO_OUTPUT_PUSHPULL;
  GPIO_InitStruct.Pull = LL_GPIO_PULL_NO;
  GPIO_InitStruct.Alternate = LL_GPIO_AF_0;
  LL_GPIO_Init(UART_TX_GPIO_Port, &GPIO_InitStruct);

  GPIO_InitStruct.Pin = UART_RX_Pin;
  GPIO_InitStruct.Mode = LL_GPIO_MODE_ALTERNATE;
  GPIO_InitStruct.Speed = LL_GPIO_SPEED_FREQ_LOW;
  GPIO_InitStruct.OutputType = LL_GPIO_OUTPUT_PUSHPULL;
  GPIO_InitStruct.Pull = LL_GPIO_PULL_NO;
  GPIO_InitStruct.Alternate = LL_GPIO_AF_0;
  LL_GPIO_Init(UART_RX_GPIO_Port, &GPIO_InitStruct);

  /* USART1 DMA Init */

  /* USART1_RX Init */
  LL_DMA_SetDataTransferDirection(DMA1, LL_DMA_CHANNEL_3, LL_DMA_DIRECTION_PERIPH_TO_MEMORY);

  LL_DMA_SetChannelPriorityLevel(DMA1, LL_DMA_CHANNEL_3, LL_DMA_PRIORITY_LOW);

  LL_DMA_SetMode(DMA1, LL_DMA_CHANNEL_3, LL_DMA_MODE_NORMAL);

  LL_DMA_SetPeriphIncMode(DMA1, LL_DMA_CHANNEL_3, LL_DMA_PERIPH_NOINCREMENT);

  LL_DMA_SetMemoryIncMode(DMA1, LL_DMA_CHANNEL_3, LL_DMA_MEMORY_INCREMENT);

  LL_DMA_SetPeriphSize(DMA1, LL_DMA_CHANNEL_3, LL_DMA_PDATAALIGN_BYTE);

  LL_DMA_SetMemorySize(DMA1, LL_DMA_CHANNEL_3, LL_DMA_MDATAALIGN_BYTE);

  /* USART1_TX Init */
  LL_DMA_SetDataTransferDirection(DMA1, LL_DMA_CHANNEL_2, LL_DMA_DIRECTION_MEMORY_TO_PERIPH);

  LL_DMA_SetChannelPriorityLevel(DMA1, LL_DMA_CHANNEL_2, LL_DMA_PRIORITY_LOW);

  LL_DMA_SetMode(DMA1, LL_DMA_CHANNEL_2, LL_DMA_MODE_NORMAL);

  LL_DMA_SetPeriphIncMode(DMA1, LL_DMA_CHANNEL_2, LL_DMA_PERIPH_NOINCREMENT);

  LL_DMA_SetMemoryIncMode(DMA1, LL_DMA_CHANNEL_2, LL_DMA_MEMORY_INCREMENT);

  LL_DMA_SetPeriphSize(DMA1, LL_DMA_CHANNEL_2, LL_DMA_PDATAALIGN_BYTE);

  LL_DMA_SetMemorySize(DMA1, LL_DMA_CHANNEL_2, LL_DMA_MDATAALIGN_BYTE);

  USART_InitStruct.BaudRate = 115200;
  USART_InitStruct.DataWidth = LL_USART_DATAWIDTH_8B;
  USART_InitStruct.StopBits = LL_USART_STOPBITS_1;
  USART_InitStruct.Parity = LL_USART_PARITY_NONE;
  USART_InitStruct.TransferDirection = LL_USART_DIRECTION_TX_RX;
  USART_InitStruct.HardwareFlowControl = LL_USART_HWCONTROL_NONE;
  USART_InitStruct.OverSampling = LL_USART_OVERSAMPLING_16;
  LL_USART_Init(USART1, &USART_InitStruct);
  LL_USART_DisableIT_CTS(USART1);
  LL_USART_ConfigAsyncMode(USART1);
  LL_USART_Enable(USART1);

}

static void MX_DMA_Init(void)
{

  /* Init with LL driver */
  /* DMA controller clock enable */
  LL_AHB1_GRP1_EnableClock(LL_AHB1_GRP1_PERIPH_DMA1);

}

static void MX_GPIO_Init(void)
{

  /* GPIO Ports Clock Enable */
  LL_AHB1_GRP1_EnableClock(LL_AHB1_GRP1_PERIPH_GPIOF);
  LL_AHB1_GRP1_EnableClock(LL_AHB1_GRP1_PERIPH_GPIOA);
  LL_AHB1_GRP1_EnableClock(LL_AHB1_GRP1_PERIPH_GPIOB);

}

/* USER CODE BEGIN 4 */

static void Board_Init(void)
{
	LL_GPIO_InitTypeDef GPIO_InitStruct = {0};
	LL_EXTI_InitTypeDef EXTI_InitStruct = {0};

	/*LED indicater PA6*/
	GPIO_InitStruct.Pin = LED_Pin;
	GPIO_InitStruct.Mode = LL_GPIO_MODE_OUTPUT;
	GPIO_InitStruct.Speed = LL_GPIO_SPEED_FREQ_LOW;
	GPIO_InitStruct.OutputType = LL_GPIO_OUTPUT_PUSHPULL;
	GPIO_InitStruct.Pull = LL_GPIO_PULL_NO;
	LL_GPIO_Init(GPIOA, &GPIO_InitStruct);

	LL_GPIO_SetOutputPin(GPIOA,LED_Pin);

	/*encoder EB PB14*/
	GPIO_InitStruct.Pin = ENC_EB;
	GPIO_InitStruct.Mode = LL_GPIO_MODE_INPUT;
	GPIO_InitStruct.Pull = LL_GPIO_PULL_UP;
	LL_GPIO_Init(GPIOB, &GPIO_InitStruct);

	/*encoder EA PB13 and button PB12*/
	LL_SYSCFG_SetEXTISource(LL_SYSCFG_EXTI_PORTB,LL_SYSCFG_EXTI_LINE12);
	LL_SYSCFG_SetEXTISource(LL_SYSCFG_EXTI_PORTB,LL_SYSCFG_EXTI_LINE13);
	LL_GPIO_SetPinPull(GPIOB,LL_GPIO_PIN_12,LL_GPIO_PULL_UP);
	LL_GPIO_SetPinPull(GPIOB,LL_GPIO_PIN_13,LL_GPIO_PULL_UP);
	LL_GPIO_SetPinMode(GPIOB,LL_GPIO_PIN_12,LL_GPIO_MODE_INPUT);
	LL_GPIO_SetPinMode(GPIOB,LL_GPIO_PIN_13,LL_GPIO_MODE_INPUT);

	EXTI_InitStruct.Line_0_31 = LL_EXTI_LINE_12;
	EXTI_InitStruct.LineCommand = ENABLE;
	EXTI_InitStruct.Mode = LL_EXTI_MODE_IT;
	EXTI_InitStruct.Trigger = LL_EXTI_TRIGGER_FALLING;
	LL_EXTI_Init(&EXTI_InitStruct);

	EXTI_InitStruct.Line_0_31 = LL_EXTI_LINE_13;
	EXTI_InitStruct.LineCommand = ENABLE;
	EXTI_InitStruct.Mode = LL_EXTI_MODE_IT;
	EXTI_InitStruct.Trigger = LL_EXTI_TRIGGER_FALLING;
	LL_EXTI_Init(&EXTI_InitStruct);

	NVIC_SetPriority(EXTI4_15_IRQn,3);
	NVIC_EnableIRQ(EXTI4_15_IRQn);

}

/* USER CODE END 4 */

void Error_Handler(void)
{
  __disable_irq();
  while (1)
  {
  }
}

/************************ (C) COPYRIGHT STMicroelectronics *****END OF FILE****/
